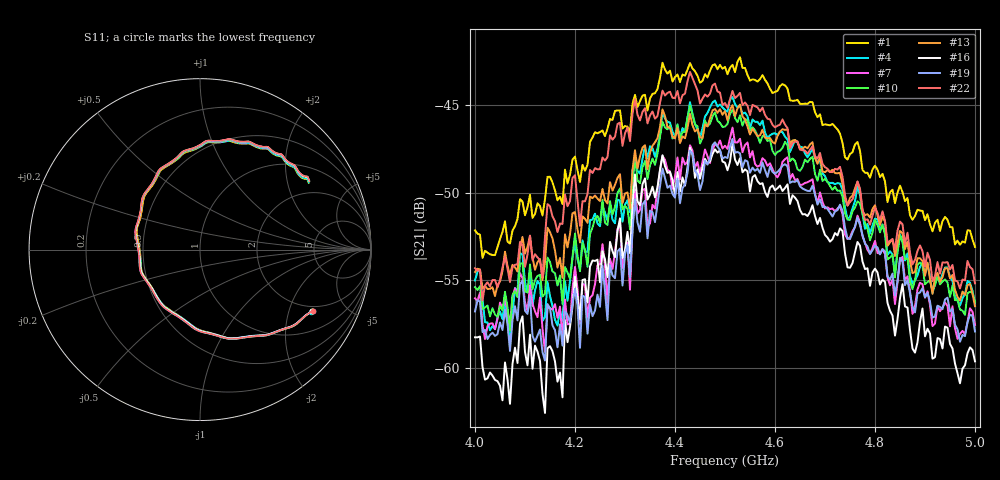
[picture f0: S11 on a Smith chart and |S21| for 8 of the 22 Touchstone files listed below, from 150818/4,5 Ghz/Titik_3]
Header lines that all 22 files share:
# Hz S RI R 50
! CMT, C1220, 16058040, 17.2.0/1
! Data: Format (Calibration Info)
! Freq  S11: Re/Im (F2)  S21: Re/Im (F2)  S12: Re/Im (F2)  S22: Re/Im (F2)
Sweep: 4 GHz to 5 GHz
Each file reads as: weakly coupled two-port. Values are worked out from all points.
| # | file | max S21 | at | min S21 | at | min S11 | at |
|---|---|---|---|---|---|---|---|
| 1 | Sudut_20_Titik_3.s2p | -42.28 dB | 4.53 GHz | -53.7 dB | 4.015 GHz | -9.1 dB | 4.36 GHz |
| 2 | Sudut_30_Titik_3.s2p | -42.48 dB | 4.53 GHz | -54.1 dB | 4.03 GHz | -9.2 dB | 4.36 GHz |
| 3 | Sudut_40_Titik_3.s2p | -42.95 dB | 4.43 GHz | -55.2 dB | 4.03 GHz | -9.2 dB | 4.36 GHz |
| 4 | Sudut_60_Titik_3.s2p | -44.55 dB | 4.515 GHz | -58.6 dB | 4.07 GHz | -9.1 dB | 4.36 GHz |
| 5 | Sudut_80_Titik_3.s2p | -46.23 dB | 4.43 GHz | -61.5 dB | 4.07 GHz | -9.1 dB | 4.36 GHz |
| 6 | Sudut_90_Titik_3.s2p | -46.90 dB | 4.43 GHz | -59.2 dB | 4.97 GHz | -9.1 dB | 4.36 GHz |
| 7 | Sudut_110_Titik_3.s2p | -46.29 dB | 4.515 GHz | -59.1 dB | 4.14 GHz | -8.9 dB | 4.36 GHz |
| 8 | Sudut_120_Titik_3.s2p | -46.06 dB | 4.515 GHz | -58.1 dB | 4.02 GHz | -9.0 dB | 4.36 GHz |
| 9 | Sudut_130_Titik_3.s2p | -45.59 dB | 4.515 GHz | -57.8 dB | 4.07 GHz | -9.2 dB | 4.36 GHz |
| 10 | Sudut_140_Titik_3.s2p | -45.05 dB | 4.43 GHz | -57.9 dB | 4.07 GHz | -9.1 dB | 4.36 GHz |
| 11 | Sudut_150_Titik_3.s2p | -44.19 dB | 4.43 GHz | -57.2 dB | 4.135 GHz | -9.0 dB | 4.36 GHz |
| 12 | Sudut_160_Titik_3.s2p | -43.61 dB | 4.43 GHz | -57.7 dB | 4.015 GHz | -8.9 dB | 4.36 GHz |
| 13 | Sudut_190_Titik_3.s2p | -44.98 dB | 4.53 GHz | -56.5 dB | 5 GHz | -9.1 dB | 4.36 GHz |
| 14 | Sudut_210_Titik_3.s2p | -45.95 dB | 4.515 GHz | -58.2 dB | 4.085 GHz | -9.0 dB | 4.36 GHz |
| 15 | Sudut_230_Titik_3.s2p | -46.77 dB | 4.515 GHz | -61.3 dB | 4.135 GHz | -8.9 dB | 4.36 GHz |
| 16 | Sudut_260_Titik_3.s2p | -47.22 dB | 4.515 GHz | -62.6 dB | 4.14 GHz | -9.0 dB | 4.36 GHz |
| 17 | Sudut_270_Titik_3.s2p | -47.48 dB | 4.515 GHz | -60.3 dB | 4.07 GHz | -9.0 dB | 4.36 GHz |
| 18 | Sudut_290_Titik_3.s2p | -47.42 dB | 4.515 GHz | -59.8 dB | 4.14 GHz | -9.0 dB | 4.36 GHz |
| 19 | Sudut_300_Titik_3.s2p | -46.94 dB | 4.515 GHz | -59.6 dB | 4.14 GHz | -8.9 dB | 4.36 GHz |
| 20 | Sudut_310_Titik_3.s2p | -46.56 dB | 4.515 GHz | -59.4 dB | 4.135 GHz | -8.9 dB | 4.36 GHz |
| 21 | Sudut_320_Titik_3.s2p | -45.78 dB | 4.515 GHz | -58.2 dB | 4.015 GHz | -8.9 dB | 4.36 GHz |
| 22 | Sudut_350_Titik_3.s2p | -43.12 dB | 4.43 GHz | -56.2 dB | 4.015 GHz | -8.9 dB | 4.36 GHz |
